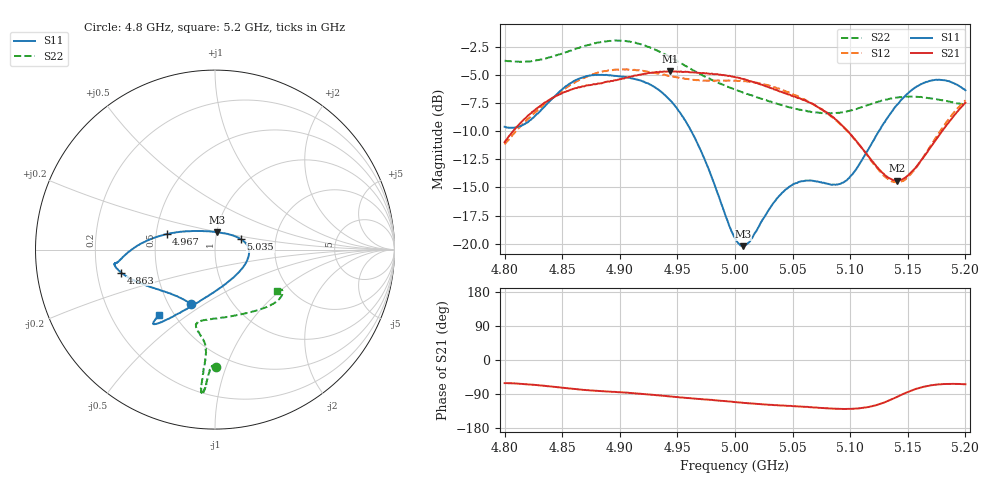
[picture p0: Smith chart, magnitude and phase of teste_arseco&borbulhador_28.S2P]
! Network Analyzer HP8722D
! Hewlett-Packard
! Data name: Linha & Wilkinson
! Saver's name: Rodrigo Anjos
! Comments: Teste da utilização de aquisição
! continua pelo VNA HP8722D
! Time and date: 15/4/2025 15:52
!  Frequency  S11  S21  S12  S22
# HZ  S  MA R 50
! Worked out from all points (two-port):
!   401 points, 4.8 GHz to 5.2 GHz, reference 50 ohm
!   highest |S21| = -4.63 dB at 4.944 GHz (marker M1); lowest = -14.4 dB at 5.141 GHz (marker M2)
!   |S21| within 3 dB of the highest: 4.832 GHz to 5.069 GHz (236.9 MHz wide, 4.79 % of centre); 5.198274 GHz to end of sweep
!   lowest |S11| = -20.2 dB at 5.007 GHz (marker M3), VSWR 1.22, Z = 50.4 + j9.81 ohm
!   |S11| at or under -10 dB: 4.962 GHz to 5.125 GHz (162.6 MHz wide, 3.22 % of centre)
!   |S22| runs from -8.4 to -1.9 dB; largest |S21 - S12| = 0.88
!   S11 on the Smith chart (normalised r, x): 4.8 GHz: 0.64, -0.44; 4.863 GHz: 0.30, -0.11; 4.967 GHz: 0.57, +0.11; 5.035 GHz: 1.32, +0.16; 5.2 GHz: 0.41, -0.39
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4.8e9  0.3316 -114.2  0.2832 -61.0  0.2769 -175.3  0.6538 -89.5
4.819e9  0.3457 -133.8  0.366 -64.1  0.354 -173.4  0.6479 -91.2
4.863e9  0.5391 -166.3  0.4941 -77.2  0.5306 -176.8  0.742 -93.7
4.867e9  0.5497 -167.8  0.5014 -78.4  0.5439 -177.6  0.7541 -93.8
4.899e9  0.5568 -172.4  0.5385 -85.0  0.5963 175.6  0.8028 -95.2
4.934e9  0.4836 -178.3  0.5811 -93.5  0.5739 171.7  0.7185 -95.7
4.944e9  0.4347 177.2  0.5868 -96.3  0.5593 171.8  0.6778 -95.4
4.967e9  0.2829 162.1  0.5782 -102.2  0.5352 173.9  0.5796 -95.0
5e9  0.1059 106.3  0.5523 -111.1  0.5334 176.2  0.4861 -99.4
5.007e9  0.09736 82.3  0.5416 -112.9  0.5291 176.2  0.4711 -100.9
5.014e9  0.1047 60.1  0.5294 -114.7  0.5269 176.1  0.459 -102.5
5.035e9  0.1552 22.2  0.4854 -119.1  0.4971 175.0  0.4218 -103.9
5.05e9  0.1831 6.4  0.4548 -121.9  0.4641 174.4  0.402 -100.4
5.067e9  0.1908 -12.0  0.42 -124.8  0.421 173.8  0.3854 -91.8
5.086e9  0.1832 -42.4  0.3634 -128.5  0.3606 173.8  0.3815 -77.6
5.097e9  0.1914 -65.4  0.3204 -129.2  0.3193 174.4  0.3882 -68.4
5.134e9  0.3744 -116.4  0.1957 -106.6  0.1917 -159.4  0.4422 -43.4
5.141e9  0.4173 -120.4  0.1906 -96.7  0.1875 -148.5  0.4482 -40.2
5.153e9  0.4819 -125.2  0.2078 -80.8  0.2053 -129.9  0.4521 -36.0
5.17e9  0.5327 -128.8  0.2696 -66.8  0.2739 -113.0  0.4442 -32.1
5.184e9  0.5316 -130.1  0.3396 -63.3  0.3504 -107.3  0.4317 -31.1
5.2e9  0.4823 -130.6  0.4243 -64.1  0.4354 -106.2  0.4153 -33.5
